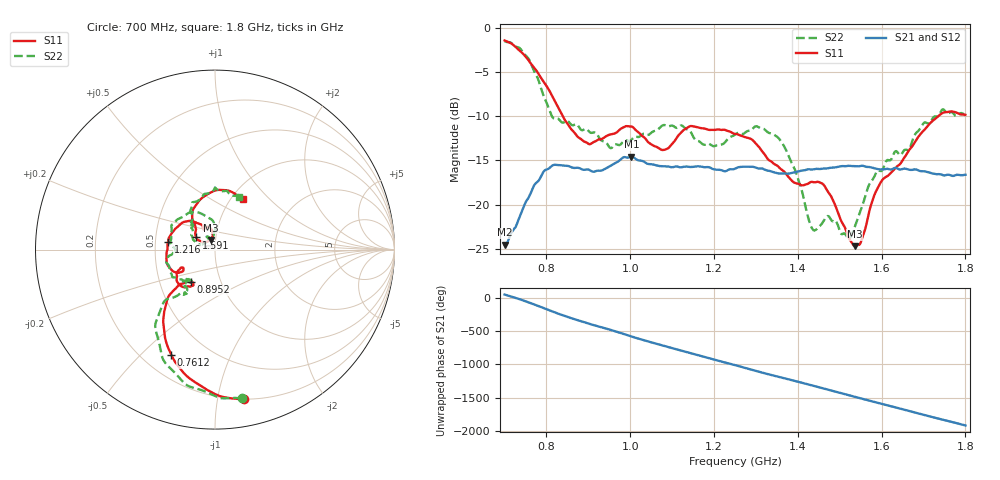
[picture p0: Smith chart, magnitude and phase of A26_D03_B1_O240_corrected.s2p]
! Created with skrf 1.9.0 (http://scikit-rf.org).
# Hz S RI R 50.0
!freq ReS11 ImS11 ReS21 ImS21 ReS12 ImS12 ReS22 ImS22
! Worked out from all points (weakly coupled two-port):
!   1601 points, 700 MHz to 1.8 GHz, reference 50 ohm
!   highest |S21| = -14.57 dB at 1.002 GHz (marker M1); lowest = -24.5 dB at 700.7 MHz (marker M2)
!   lowest |S11| = -24.7 dB at 1.535 GHz (marker M3), VSWR 1.12, Z = 47.4 + j5.07 ohm
!   |S11| at or under -10 dB: 838.8 MHz to 1.735 GHz (895.9 MHz wide, 69.6 % of centre)
!   |S22| runs from -23.9 to -1.5 dB; largest |S21 - S12| = 0.0035
!   S11 on the Smith chart (normalised r, x): 700 MHz: 0.20, -1.19; 761.2 MHz: 0.32, -0.62; 895.2 MHz: 0.72, -0.27; 1.216 GHz: 0.58, +0.06; 1.591 GHz: 0.80, +0.11; 1.8 GHz: 1.13, +0.71
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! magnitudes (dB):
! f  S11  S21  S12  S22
! 700 MHz  -1.4  -24.5  -24.3  -1.5
! 700.7 MHz  -1.4  -24.5  -24.2  -1.5
! 761.2 MHz  -3.9  -18.8  -18.7  -3.9
! 814.8 MHz  -7.8  -15.6  -15.6  -10.1
! 883.6 MHz  -12.6  -16.0  -15.9  -11.6
! 895.2 MHz  -13.0  -16.0  -16.1  -11.4
! 953 MHz  -12.0  -15.6  -15.6  -13.6
! 1.002 GHz  -11.1  -14.6  -14.7  -12.7
! 1.067 GHz  -13.6  -15.6  -15.5  -11.5
! 1.143 GHz  -11.1  -15.7  -15.7  -11.7
! 1.216 GHz  -11.5  -16.1  -16.1  -13.2
! 1.25 GHz  -12.0  -15.9  -15.9  -12.1
! 1.357 GHz  -15.9  -16.5  -16.4  -12.6
! 1.434 GHz  -17.4  -16.0  -16.0  -22.7
! 1.465 GHz  -18.0  -15.9  -15.9  -21.6
! 1.521 GHz  -23.7  -15.6  -15.6  -23.9
! 1.535 GHz  -24.7  -15.6  -15.7  -22.6
! 1.552 GHz  -24.1  -15.6  -15.6  -20.4
! 1.591 GHz  -18.1  -16.0  -16.0  -16.2
! 1.617 GHz  -16.6  -16.0  -15.9  -15.0
! 1.738 GHz  -9.9  -16.5  -16.6  -9.8
! 1.8 GHz  -9.8  -16.6  -16.6  -9.9
